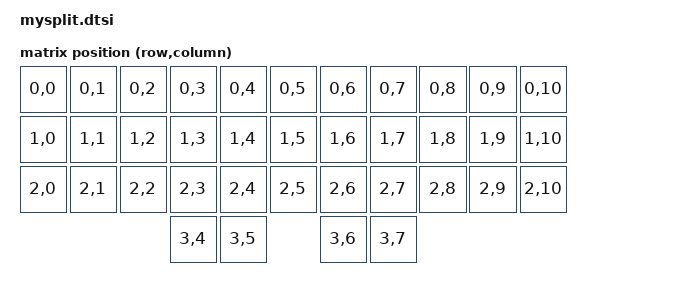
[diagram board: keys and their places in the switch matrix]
#include <dt-bindings/zmk/matrix_transform.h>
#include <dt-bindings/gpio/gpio.h>

/ {
    chosen {
        zmk,kscan = &kscan0;
        zmk,matrix-transform = &default_transform;
    };

    // columns = left cols (6) + right cols (5) = 11
    // rows = 4 (3 alpha rows + 1 thumb row) on each half
    //
    // Thumb key wiring (confirmed): left row3 = col4, col5.
    // Right row3 = col0, col1 (local, offset+6 = global col6, col7).
    default_transform: keymap_transform_0 {
        compatible = "zmk,matrix-transform";
        columns = <11>;
        rows = <4>;

        map = <
RC(0,0) RC(0,1) RC(0,2) RC(0,3) RC(0,4) RC(0,5)   RC(0,6) RC(0,7) RC(0,8) RC(0,9) RC(0,10)
RC(1,0) RC(1,1) RC(1,2) RC(1,3) RC(1,4) RC(1,5)   RC(1,6) RC(1,7) RC(1,8) RC(1,9) RC(1,10)
RC(2,0) RC(2,1) RC(2,2) RC(2,3) RC(2,4) RC(2,5)   RC(2,6) RC(2,7) RC(2,8) RC(2,9) RC(2,10)
                        RC(3,4) RC(3,5)             RC(3,6) RC(3,7)
        >;
    };

    kscan0: kscan {
        compatible = "zmk,kscan-gpio-matrix";
        diode-direction = "col2row";
    };
};

// The xiao_ble board enables UART0 by default, with TX on D6 (P1.11)
// and RX on D7 (P1.12). Our matrix uses D7 as a GPIO column (col2 on
// both halves), but UART0 was silently claiming it as its RX pin,
// making that whole column dead on both halves. Disabling UART0
// frees D7 for GPIO use.
&uart0 {
    status = "disabled";
};
